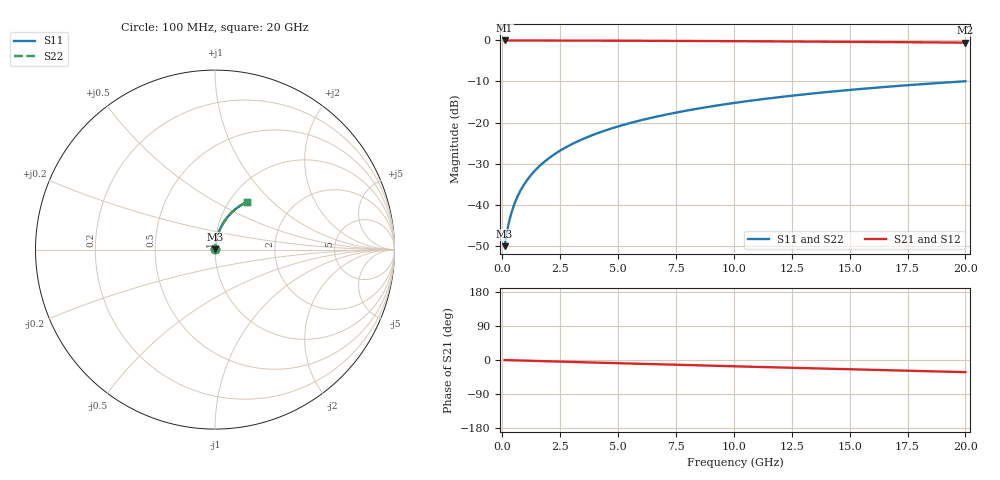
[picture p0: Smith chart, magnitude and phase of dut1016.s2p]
! Touchstone file exported from HFSS 2026.1.0
!  File:  C:/ffzhzh/LocalFiles/Ansys_Project_Files/temp_train_BSMRDL_1016_1783173354_43440.aedt
!  Generated:  09:57:07 PM Jul  4, 2026
!  Design:  BSMRDL
!  Project:  temp_train_BSMRDL_1016_1783173354_43440
! Variables:
!  h_bsmrdl = 3.99um
!  h_ox = 20um
!  h_rdl = 5um
!  h_sub = 80um
!  h_tmrdl = 5um
!  h_tsv = 80um
!  h_via = 3um
!  l_bsmrdl = 443.39um
!  l_sub = 843.39um
!  l_tmrdl = 200um
!  m_sub = 200um
!  pitch = 42.8um
!  r_tsv = 6um
!  s_tmrdl = 10um
!  w_bsmrdl = 17.18um
!  w_sub = 500um
!  w_tmrdl = 12um
!  x_tsv_center1 = 206um
!  x_tsv_center2 = 666.57um
!  x_tsv_center3 = 878.57um
!  x_tsv_center4 = 1339.14um
!  x_tsv_center5 = 1551.14um
!  x_tsv_center6 = 2011.71um
# GHz S MA R 50.000000
! Terminal data exported
! Port[1] = BSM_RDL1_1_T1
! Port[2] = BSM_RDL1_1_T2
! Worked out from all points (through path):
!   200 points, 100 MHz to 20 GHz, reference 50 ohm
!   highest |S21| = -0.02 dB at 100 MHz (marker M1); lowest = -0.6 dB at 20 GHz (marker M2)
!   group delay of S21, straight-line fit = 4.44 ps
!   lowest |S11| = -50.1 dB at 100 MHz (marker M3), VSWR 1.01, Z = 50.2 + j0.196 ohm
!   |S11| at or under -10 dB: start of sweep to 19.87 GHz
!   |S22| runs from -50.1 to -10.0 dB; largest |S21 - S12| = 4.2e-15
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0.1  0.003125 38.7  0.9976 -0.2  0.9976 -0.2  0.003125 38.7
! Gamma 0 0 0 0
! Port Impedance 50 0 50 0
0.2  0.004626 56.7  0.9975 -0.4  0.9975 -0.4  0.004626 56.7
0.3  0.006317 65.0  0.9974 -0.5  0.9974 -0.5  0.006317 65.0
0.4  0.008051 69.7  0.9973 -0.7  0.9973 -0.7  0.008051 69.7
0.5  0.009799 72.7  0.9972 -0.9  0.9972 -0.9  0.009799 72.7
0.6  0.01156 74.7  0.9971 -1.0  0.9971 -1.0  0.01156 74.7
0.8  0.01509 77.4  0.997 -1.4  0.997 -1.4  0.01509 77.4
1.1  0.02043 79.6  0.9968 -1.9  0.9968 -1.9  0.02043 79.6
1.5  0.0276 80.9  0.9965 -2.6  0.9965 -2.6  0.0276 80.9
1.8  0.03298 81.3  0.9962 -3.1  0.9962 -3.1  0.03298 81.3
2.1  0.03837 81.4  0.9959 -3.6  0.9959 -3.6  0.03837 81.4
2.7  0.0491 81.2  0.9952 -4.6  0.9952 -4.6  0.0491 81.2
3.5  0.06332 80.5  0.9941 -5.9  0.9941 -5.9  0.06332 80.5
4.2  0.07565 79.6  0.9929 -7.1  0.9929 -7.1  0.07565 79.6
5  0.08958 78.5  0.9913 -8.5  0.9913 -8.5  0.08958 78.5
5.9  0.1051 77.2  0.9893 -9.9  0.9893 -9.9  0.1051 77.2
6.8  0.1203 75.9  0.9871 -11.4  0.9871 -11.4  0.1203 75.9
8.3  0.1453 73.6  0.983 -13.9  0.983 -13.9  0.1453 73.6
10.1  0.1745 70.9  0.9775 -16.8  0.9775 -16.8  0.1745 70.9
13.4  0.2256 65.9  0.966 -22.0  0.966 -22.0  0.2256 65.9
16.7  0.2735 61.1  0.9529 -27.1  0.9529 -27.1  0.2735 61.1
20  0.3179 56.3  0.9385 -32.0  0.9385 -32.0  0.3179 56.3
